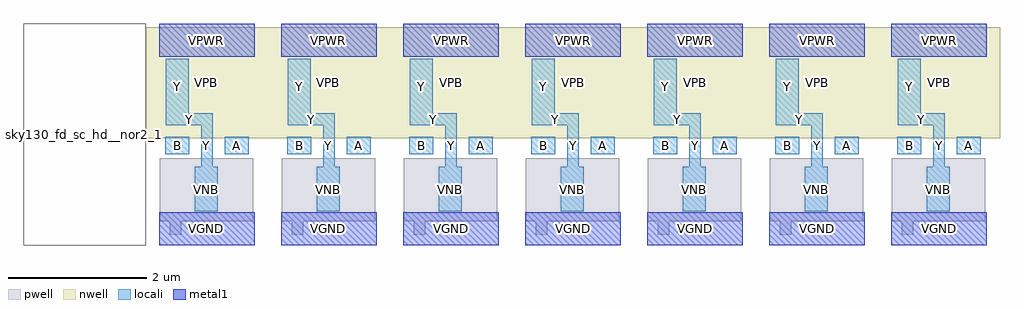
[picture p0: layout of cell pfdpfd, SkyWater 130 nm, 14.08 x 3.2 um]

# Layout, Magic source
magic
tech sky130A
magscale 1 2
<< nwell >>
rect 314 261 2778 582
<< pwell >>
rect 353 21 623 203
rect 705 21 975 203
rect 1057 21 1327 203
rect 1409 21 1679 203
rect 1761 21 2031 203
rect 2113 21 2383 203
rect 2465 21 2735 203
rect 382 -17 416 21
rect 734 -17 768 21
rect 1086 -17 1120 21
rect 1438 -17 1472 21
rect 1790 -17 1824 21
rect 2142 -17 2176 21
rect 2494 -17 2528 21
<< locali >>
rect 371 333 437 490
rect 723 333 789 490
rect 1075 333 1141 490
rect 1427 333 1493 490
rect 1779 333 1845 490
rect 2131 333 2197 490
rect 2483 333 2549 490
rect 371 299 507 333
rect 723 299 859 333
rect 1075 299 1211 333
rect 1427 299 1563 333
rect 1779 299 1915 333
rect 2131 299 2267 333
rect 2483 299 2619 333
rect 369 215 439 265
rect 473 179 507 299
rect 541 215 611 265
rect 721 215 791 265
rect 825 179 859 299
rect 893 215 963 265
rect 1073 215 1143 265
rect 1177 179 1211 299
rect 1245 215 1315 265
rect 1425 215 1495 265
rect 1529 179 1563 299
rect 1597 215 1667 265
rect 1777 215 1847 265
rect 1881 179 1915 299
rect 1949 215 2019 265
rect 2129 215 2199 265
rect 2233 179 2267 299
rect 2301 215 2371 265
rect 2481 215 2551 265
rect 2585 179 2619 299
rect 2653 215 2723 265
rect 455 51 521 179
rect 807 51 873 179
rect 1159 51 1225 179
rect 1511 51 1577 179
rect 1863 51 1929 179
rect 2215 51 2281 179
rect 2567 51 2633 179
<< metal1 >>
rect 352 496 628 592
rect 704 496 980 592
rect 1056 496 1332 592
rect 1408 496 1684 592
rect 1760 496 2036 592
rect 2112 496 2388 592
rect 2464 496 2740 592
rect 352 -48 628 48
rect 704 -48 980 48
rect 1056 -48 1332 48
rect 1408 -48 1684 48
rect 1760 -48 2036 48
rect 2112 -48 2388 48
rect 2464 -48 2740 48
use sky130_fd_sc_hd__nor2_1  sky130_fd_sc_hd__nor2_1_0
transform 1 0 0 0 1 0
box -38 -48 314 592
<< labels >>
rlabel locali s 541 215 611 265 6 A
port 1 nsew signal input
rlabel locali s 369 215 439 265 6 B
port 2 nsew signal input
rlabel metal1 s 352 -48 628 48 8 VGND
port 3 nsew ground bidirectional abutment
rlabel pwell s 382 -17 416 21 6 VNB
port 4 nsew ground bidirectional
rlabel pwell s 353 21 623 203 6 VNB
port 4 nsew ground bidirectional
rlabel nwell s 314 261 666 582 6 VPB
port 5 nsew power bidirectional
rlabel metal1 s 352 496 628 592 6 VPWR
port 6 nsew power bidirectional abutment
rlabel locali s 455 51 521 179 6 Y
port 7 nsew signal output
rlabel locali s 473 179 507 299 6 Y
port 7 nsew signal output
rlabel locali s 371 299 507 333 6 Y
port 7 nsew signal output
rlabel locali s 371 333 437 490 6 Y
port 7 nsew signal output
rlabel locali s 893 215 963 265 6 A
port 1 nsew signal input
rlabel locali s 721 215 791 265 6 B
port 2 nsew signal input
rlabel metal1 s 704 -48 980 48 8 VGND
port 3 nsew ground bidirectional abutment
rlabel pwell s 734 -17 768 21 6 VNB
port 4 nsew ground bidirectional
rlabel pwell s 705 21 975 203 6 VNB
port 4 nsew ground bidirectional
rlabel nwell s 666 261 1018 582 6 VPB
port 5 nsew power bidirectional
rlabel metal1 s 704 496 980 592 6 VPWR
port 6 nsew power bidirectional abutment
rlabel locali s 807 51 873 179 6 Y
port 7 nsew signal output
rlabel locali s 825 179 859 299 6 Y
port 7 nsew signal output
rlabel locali s 723 299 859 333 6 Y
port 7 nsew signal output
rlabel locali s 723 333 789 490 6 Y
port 7 nsew signal output
rlabel locali s 1245 215 1315 265 6 A
port 1 nsew signal input
rlabel locali s 1073 215 1143 265 6 B
port 2 nsew signal input
rlabel metal1 s 1056 -48 1332 48 8 VGND
port 3 nsew ground bidirectional abutment
rlabel pwell s 1086 -17 1120 21 6 VNB
port 4 nsew ground bidirectional
rlabel pwell s 1057 21 1327 203 6 VNB
port 4 nsew ground bidirectional
rlabel nwell s 1018 261 1370 582 6 VPB
port 5 nsew power bidirectional
rlabel metal1 s 1056 496 1332 592 6 VPWR
port 6 nsew power bidirectional abutment
rlabel locali s 1159 51 1225 179 6 Y
port 7 nsew signal output
rlabel locali s 1177 179 1211 299 6 Y
port 7 nsew signal output
rlabel locali s 1075 299 1211 333 6 Y
port 7 nsew signal output
rlabel locali s 1075 333 1141 490 6 Y
port 7 nsew signal output
rlabel locali s 1597 215 1667 265 6 A
port 1 nsew signal input
rlabel locali s 1425 215 1495 265 6 B
port 2 nsew signal input
rlabel metal1 s 1408 -48 1684 48 8 VGND
port 3 nsew ground bidirectional abutment
rlabel pwell s 1438 -17 1472 21 6 VNB
port 4 nsew ground bidirectional
rlabel pwell s 1409 21 1679 203 6 VNB
port 4 nsew ground bidirectional
rlabel nwell s 1370 261 1722 582 6 VPB
port 5 nsew power bidirectional
rlabel metal1 s 1408 496 1684 592 6 VPWR
port 6 nsew power bidirectional abutment
rlabel locali s 1511 51 1577 179 6 Y
port 7 nsew signal output
rlabel locali s 1529 179 1563 299 6 Y
port 7 nsew signal output
rlabel locali s 1427 299 1563 333 6 Y
port 7 nsew signal output
rlabel locali s 1427 333 1493 490 6 Y
port 7 nsew signal output
rlabel locali s 1949 215 2019 265 6 A
port 1 nsew signal input
rlabel locali s 1777 215 1847 265 6 B
port 2 nsew signal input
rlabel metal1 s 1760 -48 2036 48 8 VGND
port 3 nsew ground bidirectional abutment
rlabel pwell s 1790 -17 1824 21 6 VNB
port 4 nsew ground bidirectional
rlabel pwell s 1761 21 2031 203 6 VNB
port 4 nsew ground bidirectional
rlabel nwell s 1722 261 2074 582 6 VPB
port 5 nsew power bidirectional
rlabel metal1 s 1760 496 2036 592 6 VPWR
port 6 nsew power bidirectional abutment
rlabel locali s 1863 51 1929 179 6 Y
port 7 nsew signal output
rlabel locali s 1881 179 1915 299 6 Y
port 7 nsew signal output
rlabel locali s 1779 299 1915 333 6 Y
port 7 nsew signal output
rlabel locali s 1779 333 1845 490 6 Y
port 7 nsew signal output
rlabel locali s 2301 215 2371 265 6 A
port 1 nsew signal input
rlabel locali s 2129 215 2199 265 6 B
port 2 nsew signal input
rlabel metal1 s 2112 -48 2388 48 8 VGND
port 3 nsew ground bidirectional abutment
rlabel pwell s 2142 -17 2176 21 6 VNB
port 4 nsew ground bidirectional
rlabel pwell s 2113 21 2383 203 6 VNB
port 4 nsew ground bidirectional
rlabel nwell s 2074 261 2426 582 6 VPB
port 5 nsew power bidirectional
rlabel metal1 s 2112 496 2388 592 6 VPWR
port 6 nsew power bidirectional abutment
rlabel locali s 2215 51 2281 179 6 Y
port 7 nsew signal output
rlabel locali s 2233 179 2267 299 6 Y
port 7 nsew signal output
rlabel locali s 2131 299 2267 333 6 Y
port 7 nsew signal output
rlabel locali s 2131 333 2197 490 6 Y
port 7 nsew signal output
rlabel locali s 2653 215 2723 265 6 A
port 1 nsew signal input
rlabel locali s 2481 215 2551 265 6 B
port 2 nsew signal input
rlabel metal1 s 2464 -48 2740 48 8 VGND
port 3 nsew ground bidirectional abutment
rlabel pwell s 2494 -17 2528 21 6 VNB
port 4 nsew ground bidirectional
rlabel pwell s 2465 21 2735 203 6 VNB
port 4 nsew ground bidirectional
rlabel nwell s 2426 261 2778 582 6 VPB
port 5 nsew power bidirectional
rlabel metal1 s 2464 496 2740 592 6 VPWR
port 6 nsew power bidirectional abutment
rlabel locali s 2567 51 2633 179 6 Y
port 7 nsew signal output
rlabel locali s 2585 179 2619 299 6 Y
port 7 nsew signal output
rlabel locali s 2483 299 2619 333 6 Y
port 7 nsew signal output
rlabel locali s 2483 333 2549 490 6 Y
port 7 nsew signal output
<< end >>
